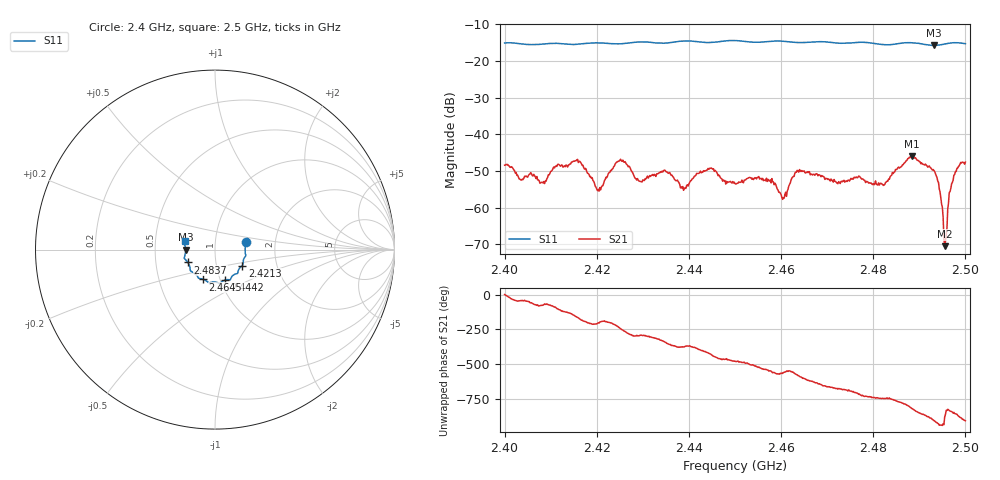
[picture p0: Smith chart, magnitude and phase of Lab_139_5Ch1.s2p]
# Hz S RI R 50
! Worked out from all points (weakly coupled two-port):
!   601 points, 2.4 GHz to 2.5 GHz, reference 50 ohm
!   highest |S21| = -46.03 dB at 2.4883 GHz (marker M1); lowest = -70.5 dB at 2.4955 GHz (marker M2)
!   lowest |S11| = -15.7 dB at 2.4932 GHz (marker M3), VSWR 1.39, Z = 35.9 - j0.0533 ohm
!   |S11| at or under -10 dB: start of sweep to end of sweep
!   S12 and S22 are empty: the file has one direction only
!   S11 on the Smith chart (normalised r, x): 2.4 GHz: 1.41, +0.12; 2.4213 GHz: 1.33, -0.25; 2.4442 GHz: 1.05, -0.37; 2.4645 GHz: 0.83, -0.29; 2.4837 GHz: 0.73, -0.11; 2.5 GHz: 0.71, +0.07
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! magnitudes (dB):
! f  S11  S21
! 2.4 GHz  -15.1  -48.4
! 2.4082 GHz  -15.4  -53.1
! 2.4167 GHz  -15.3  -48.0
! 2.4213 GHz  -15.1  -54.0
! 2.4252 GHz  -15.3  -46.8
! 2.4293 GHz  -14.8  -52.8
! 2.4333 GHz  -15.1  -50.7
! 2.4388 GHz  -14.5  -55.3
! 2.4442 GHz  -15.0  -49.3
! 2.45 GHz  -14.4  -53.4
! 2.4577 GHz  -14.6  -52.4
! 2.4607 GHz  -14.6  -57.4
! 2.4645 GHz  -15.0  -49.9
! 2.4667 GHz  -14.8  -50.8
! 2.4833 GHz  -15.6  -52.2
! 2.4837 GHz  -15.5  -51.5
! 2.4883 GHz  -15.0  -46.0
! 2.4932 GHz  -15.7  -49.8
! 2.4943 GHz  -15.6  -54.9
! 2.4955 GHz  -15.4  -70.5
! 2.4973 GHz  -15.0  -52.5
! 2.5 GHz  -15.3  -47.5
